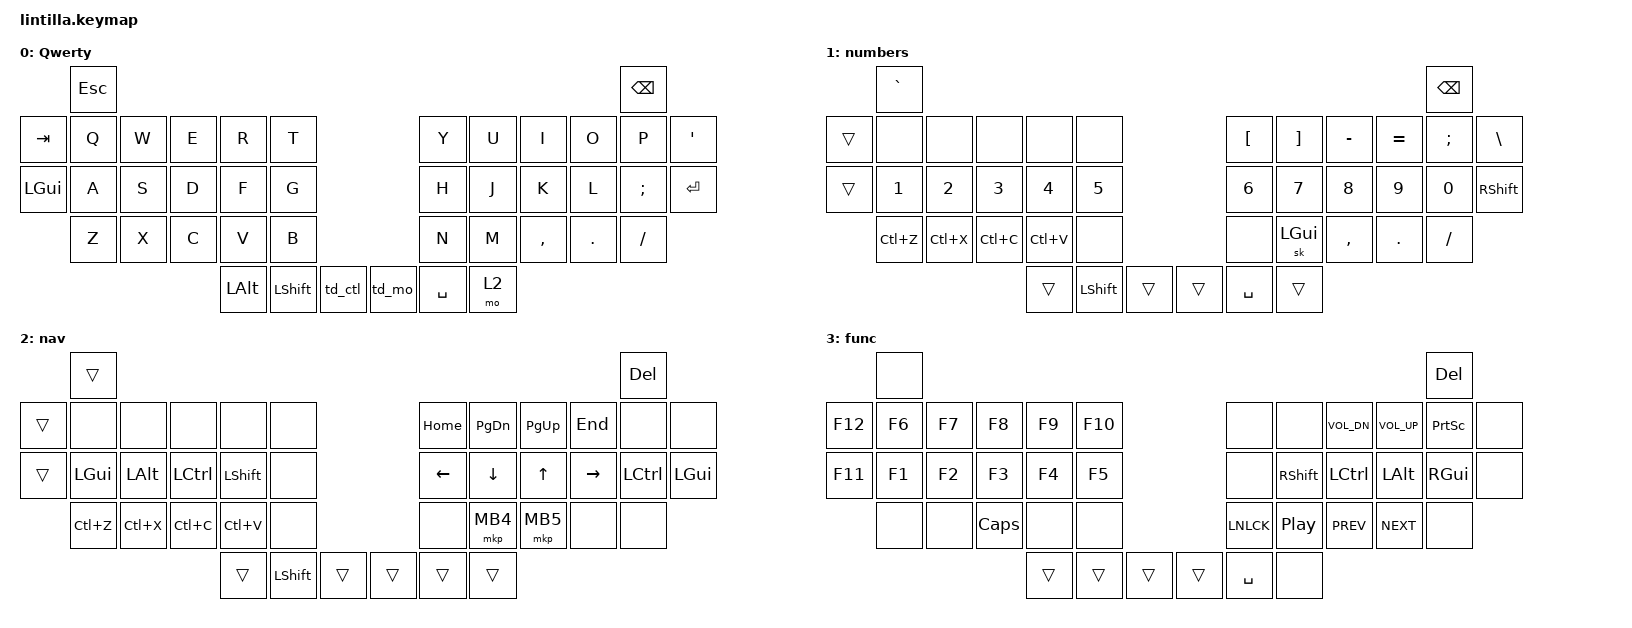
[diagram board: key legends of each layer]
#include <behaviors.dtsi>
#include <dt-bindings/zmk/bt.h>
#include <dt-bindings/zmk/keys.h>
#include <dt-bindings/zmk/outputs.h>
#include <behaviors/rgbled_widget.dtsi>
#include <dt-bindings/zmk/pointing.h>

// Multiple mods
#define GS(key) &kp LG(LS(key))
#define GCS(key) &kp LG(LC(LS(key)))
#define HYPR(key) &kp LG(LA(LC(LS(key))))

// Shortcuts for home row mods
#define LGm &hm LGUI
#define LAm &hm LALT
#define LSm &hm LSHFT
#define LCm &hm LCTRL

#define RGm &hm RGUI
#define RAm &hm RALT
#define RSm &hm RSHFT
#define RCm &hm RCTRL

// Magic bluetooth button
#define BT_(btnum) &bt_key btnum btnum

&sk {
    lazy;
};

/ {
    behaviors {

        hm: homerow_mod {
            compatible = "zmk,behavior-hold-tap";
            #binding-cells = <2>;
            tapping-term-ms = <220>;
            require-prior-idle-ms = <150>;
            quick-tap-ms = <0>;
            flavor = "tap-preferred";
            bindings = <&kp>, <&kp>;
        };

        lt: layer_tap {
            compatible = "zmk,behavior-hold-tap";
            #binding-cells = <2>;
            flavor = "tap-preferred";
            tapping-term-ms = <180>;
            bindings = <&mo>, <&kp>;
            display-name = "Layer-Tap";
        };

        td_ctl: tap_dance_lctrl {
            compatible = "zmk,behavior-tap-dance";
            #binding-cells = <0>;
            tapping-term-ms = <200>;
            bindings = <&kp LCTL>, <&kp LA(LCTL)>;
        };

        td_mo: tap_dance_mo {
            compatible = "zmk,behavior-tap-dance";
            #binding-cells = <0>;
            tapping-term-ms = <200>;
            bindings = <&mo 1>, <&mo 3>;
        };

    };

    keymap {
        compatible = "zmk,keymap";

        qwerty {
//                       ┏━━━━━━━━━━━━━━━━━━━━━━━━━┓
            display-name = "Qwerty"                ;
//                       ┗━━━━━━━━━━━━━━━━━━━━━━━━━┛
            bindings = <
//         ┏━━━━━━━┓                                                                                          ┏━━━━━━━┓
//         ┃  ESC  ┃                                                                                          ┃ BSPC  ┃
            &kp ESC                                                                                           &kp BSPC
// ┏━━━━━━━╋━━━━━━━╋━━━━━━━┳━━━━━━━┳━━━━━━━┳━━━━━━━┓                          ┏━━━━━━━┳━━━━━━━┳━━━━━━━┳━━━━━━━╋━━━━━━━╋━━━━━━━┓
// ┃  TAB  ┃   Q   ┃   W   ┃   E   ┃   R   ┃   T   ┃                          ┃   Y   ┃   U   ┃   I   ┃   O   ┃   P   ┃  ' "  ┃
    &kp TAB  &kp Q   &kp W   &kp E   &kp R   &kp T                              &kp Y   &kp U   &kp I   &kp O   &kp P  &kp SQT
// ┣━━━━━━━╋━━━━━━━╋━━━━━━━╋━━━━━━━╋━━━━━━━╋━━━━━━━┫                          ┣━━━━━━━╋━━━━━━━╋━━━━━━━╋━━━━━━━╋━━━━━━━╋━━━━━━━┫
// ┃  LGUI ┃   A   ┃   S   ┃   D   ┃   F   ┃   G   ┃                          ┃   H   ┃   J   ┃   K   ┃   L   ┃  ; :  ┃ RETURN┃
    &kp LGUI &kp A   &kp S   &kp D   &kp F   &kp G                              &kp H   &kp J   &kp K   &kp L  &kp SEMI &kp RET
// ┃       ┃       ┃       ┃       ┃       ┃       ┃                          ┃       ┃       ┃       ┃       ┃       ┃       ┃
// ┗━━━━━━━╋━━━━━━━╋━━━━━━━╋━━━━━━━╋━━━━━━━╋━━━━━━━┫                          ┣━━━━━━━╋━━━━━━━╋━━━━━━━╋━━━━━━━╋━━━━━━━╋━━━━━━━┛
//         ┃   Z   ┃   X   ┃   C   ┃   V   ┃   B   ┃                          ┃   N   ┃   M   ┃  , <  ┃  . >  ┃  / ?  ┃
             &kp Z   &kp X   &kp C   &kp V   &kp B                              &kp N   &kp M &kp COMMA &kp DOT &kp FSLH
//         ┗━━━━━━━┻━━━━━━━┻━━━━━━━┻━━━┳━━━┻━━━┳━━━┻━━━┳━━━━━━━┓  ┏━━━━━━━┳━━━┻━━━┳━━━┻━━━┳━━━┻━━━━━━━┻━━━━━━━┻━━━━━━━┛
//                                     ┃ LALT  ┃ SHIFT ┃  CTRL ┃  ┃NUM/FUN┃ SPACE ┃  NAV  ┃
                                       &kp LALT &kp LSHFT &td_ctl   &td_mo  &kp SPC  &mo 2
//                                     ┗━━━━━━━┫       ┣━━━━━━━┛  ┗━━━━━━━┫       ┣━━━━━━━┛
//                                             ┗━━━━━━━┛                  ┗━━━━━━━┛
            >;
        };

        num {
//                       ┏━━━━━━━━━━━━━━━━━━━━━━━━━┓
            display-name = "numbers"               ;
//                       ┗━━━━━━━━━━━━━━━━━━━━━━━━━┛
            bindings = <
//         ┏━━━━━━━┓                                                                                          ┏━━━━━━━┓
//         ┃  ` ~  ┃                                                                                          ┃ BSPC  ┃
           &kp GRAVE                                                                                           &kp BSPC
// ┏━━━━━━━╋━━━━━━━╋━━━━━━━┳━━━━━━━┳━━━━━━━┳━━━━━━━┓                          ┏━━━━━━━┳━━━━━━━┳━━━━━━━┳━━━━━━━╋━━━━━━━╋━━━━━━━┓
// ┃ ##### ┃       ┃       ┃       ┃       ┃       ┃                          ┃   [   ┃   ]   ┃   -   ┃   =   ┃   ;   ┃   \   ┃
     &trans  &none   &none   &none   &none   &none                        &kp LBKT &kp RBKT &kp MINUS &kp EQUAL &kp SEMI &kp BSLH
// ┣━━━━━━━╋━━━━━━━╋━━━━━━━╋━━━━━━━╋━━━━━━━╋━━━━━━━┫                          ┣━━━━━━━╋━━━━━━━╋━━━━━━━╋━━━━━━━╋━━━━━━━╋━━━━━━━┫
// ┃ ##### ┃   1   ┃   2   ┃   3   ┃   4   ┃   5   ┃                          ┃   6   ┃   7   ┃   8   ┃   9   ┃   0   ┃ RSHFT ┃
    &trans   &kp N1  &kp N2  &kp N3  &kp N4  &kp N5                            &kp N6  &kp N7  &kp N8  &kp N9  &kp N0  &kp RSHFT  
// ┃       ┃       ┃       ┃       ┃       ┃       ┃                          ┃       ┃       ┃       ┃       ┃       ┃       ┃
// ┗━━━━━━━╋━━━━━━━╋━━━━━━━╋━━━━━━━╋━━━━━━━╋━━━━━━━┫                          ┣━━━━━━━╋━━━━━━━╋━━━━━━━╋━━━━━━━╋━━━━━━━╋━━━━━━━┛
//         ┃ CtrlZ ┃ CtrlX ┃ CtrlC ┃ CtrlV ┃       ┃                          ┃       ┃SK LGUI┃  , <  ┃  . >  ┃  / ?  ┃ 
         &kp LC(Z) &kp LC(X) &kp LC(C) &kp LC(V) &none                          &none &sk LGUI &kp COMMA &kp DOT &kp FSLH
//         ┗━━━━━━━┻━━━━━━━┻━━━━━━━┻━━━┳━━━┻━━━┳━━━┻━━━┳━━━━━━━┓  ┏━━━━━━━┳━━━┻━━━┳━━━┻━━━┳━━━┻━━━━━━━┻━━━━━━━┻━━━━━━━┛
//                                     ┃ ##### ┃ SHIFT ┃ ##### ┃  ┃ ##### ┃ SPACE ┃ ##### ┃
                                        &trans &kp LSHFT &trans    &trans  &kp SPC  &trans
//                                     ┗━━━━━━━┫       ┣━━━━━━━┛  ┗━━━━━━━┫       ┣━━━━━━━┛
//                                             ┗━━━━━━━┛                  ┗━━━━━━━┛
            >;
        };

        nav {
//                       ┏━━━━━━━━━━━━━━━━━━━━━━━━━┓
            display-name = "nav"                   ;
//                       ┗━━━━━━━━━━━━━━━━━━━━━━━━━┛
            bindings = <
//         ┏━━━━━━━┓                                                                                          ┏━━━━━━━┓
//         ┃ ##### ┃                                                                                          ┃  DEL  ┃
             &trans                                                                                            &kp DEL
// ┏━━━━━━━╋━━━━━━━╋━━━━━━━┳━━━━━━━┳━━━━━━━┳━━━━━━━┓                          ┏━━━━━━━┳━━━━━━━┳━━━━━━━┳━━━━━━━╋━━━━━━━╋━━━━━━━┓
// ┃ ##### ┃       ┃       ┃       ┃       ┃       ┃                          ┃ Home  ┃ Pg Dn ┃ Pg Up ┃  END  ┃       ┃       ┃
     &trans   &none   &none   &none   &none   &none                         &kp HOME &kp PG_DN &kp PG_UP &kp END &none   &none
// ┣━━━━━━━╋━━━━━━━╋━━━━━━━╋━━━━━━━╋━━━━━━━╋━━━━━━━┫                          ┣━━━━━━━╋━━━━━━━╋━━━━━━━╋━━━━━━━╋━━━━━━━╋━━━━━━━┫
// ┃ ##### ┃ LGUI  ┃ LAlt  ┃ LCTRL ┃ LSHFT ┃       ┃                          ┃   ←   ┃   ↓   ┃   ↑   ┃   →   ┃ LCTRL ┃  LGUI ┃
    &trans &kp LGUI &kp LALT &kp LCTL &kp LSHFT &none                          &kp LEFT &kp DOWN &kp UP &kp RIGHT &kp LCTL &kp LGUI
// ┃       ┃       ┃       ┃       ┃       ┃       ┃                          ┃       ┃       ┃       ┃       ┃       ┃       ┃
// ┗━━━━━━━╋━━━━━━━╋━━━━━━━╋━━━━━━━╋━━━━━━━╋━━━━━━━┫                          ┣━━━━━━━╋━━━━━━━╋━━━━━━━╋━━━━━━━╋━━━━━━━╋━━━━━━━┛
//         ┃ CtrlZ ┃ CtrlX ┃ CtrlC ┃ CtrlV ┃       ┃                          ┃       ┃  MBCK ┃  MFWD ┃       ┃       ┃
        &kp LC(Z) &kp LC(X) &kp LC(C) &kp LC(V) &none                           &none &mkp MB4 &mkp MB5 &none  &none
//         ┗━━━━━━━┻━━━━━━━┻━━━━━━━┻━━━┳━━━┻━━━┳━━━┻━━━┳━━━━━━━┓  ┏━━━━━━━┳━━━┻━━━┳━━━┻━━━┳━━━┻━━━━━━━┻━━━━━━━┻━━━━━━━┛
//                                     ┃ ##### ┃ SHIFT ┃ ##### ┃  ┃ ##### ┃       ┃ ##### ┃
                                        &trans &kp LSHFT &trans    &trans  &trans  &trans
//                                     ┗━━━━━━━┫       ┣━━━━━━━┛  ┗━━━━━━━┫       ┣━━━━━━━┛
//                                             ┗━━━━━━━┛                  ┗━━━━━━━┛
            >;
        };



        fn {
//                       ┏━━━━━━━━━━━━━━━━━━━━━━━━━┓
            display-name = "func"                  ;
//                       ┗━━━━━━━━━━━━━━━━━━━━━━━━━┛
            bindings = <
//         ┏━━━━━━━┓                                                                                          ┏━━━━━━━┓
//         ┃       ┃                                                                                          ┃  DEL  ┃
             &none                                                                                             &kp DEL
// ┏━━━━━━━╋━━━━━━━╋━━━━━━━┳━━━━━━━┳━━━━━━━┳━━━━━━━┓                          ┏━━━━━━━┳━━━━━━━┳━━━━━━━┳━━━━━━━╋━━━━━━━╋━━━━━━━┓
// ┃  F12  ┃  F6   ┃  F7   ┃  F8   ┃  F9   ┃  F10  ┃                          ┃       ┃       ┃ VOL-  ┃ VOL+  ┃ PSCRN ┃       ┃
    &kp F12 &kp F6  &kp F7  &kp F8  &kp F9  &kp F10                          &none &none &kp C_VOL_DN &kp C_VOL_UP &kp PSCRN &none
// ┣━━━━━━━╋━━━━━━━╋━━━━━━━╋━━━━━━━╋━━━━━━━╋━━━━━━━┫                          ┣━━━━━━━╋━━━━━━━╋━━━━━━━╋━━━━━━━╋━━━━━━━╋━━━━━━━┫
// ┃  F11  ┃  F1   ┃  F2   ┃  F3   ┃  F4   ┃  F5   ┃                          ┃       ┃ SHIFT ┃  CTRL ┃  ALT  ┃ RGUI  ┃       ┃
    &kp F11 &kp F1 &kp F2  &kp F3  &kp F4  &kp F5                             &none  &kp RSHFT &kp LCTL &kp LALT &kp RGUI &none
// ┗━━━━━━━╋━━━━━━━╋━━━━━━━╋━━━━━━━╋━━━━━━━╋━━━━━━━┫                          ┣━━━━━━━╋━━━━━━━╋━━━━━━━╋━━━━━━━╋━━━━━━━╋━━━━━━━┛
//         ┃       ┃       ┃caps lk┃       ┃       ┃                          ┃ numlk ┃ play  ┃ prev  ┃ next  ┃       ┃ 
             &none   &none  &kp CAPS &none   &none                          &kp LNLCK &kp C_PP &kp C_PREV &kp C_NEXT &none
//         ┗━━━━━━━┻━━━━━━━┻━━━━━━━┻━━━┳━━━┻━━━┳━━━┻━━━┳━━━━━━━┓  ┏━━━━━━━┳━━━┻━━━┳━━━┻━━━┳━━━┻━━━━━━━┻━━━━━━━┻━━━━━━━┛
//                                     ┃ ##### ┃       ┃       ┃  ┃       ┃       ┃       ┃
                                         &trans  &trans  &trans    &trans  &kp SPC  &none
//                                     ┗━━━━━━━┫       ┣━━━━━━━┛  ┗━━━━━━━┫       ┣━━━━━━━┛
//                                             ┗━━━━━━━┛                  ┗━━━━━━━┛
            >;
        };
    };
};

// vim: expandtab softtabstop=4 shiftwidth=4 filetype=dts
